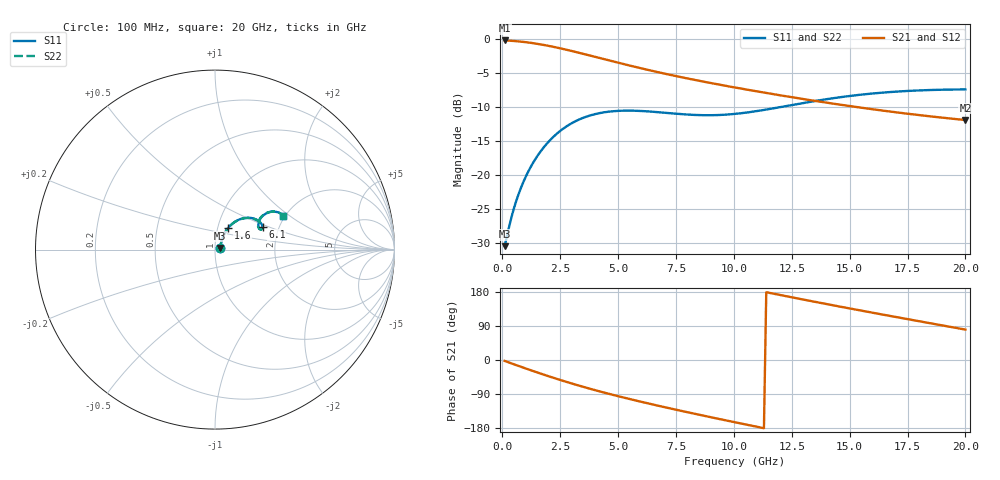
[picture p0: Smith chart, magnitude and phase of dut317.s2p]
! Touchstone file exported from HFSS 2024.1.0
!  File:  C:/UserFiles/LocalFiles/RDL_TSV_Batchsim/temp_RDL_TSV_317_1779628786.aedt
!  Generated:  09:38:46 PM May 24, 2026
!  Design:  RDL_TSV
!  Project:  temp_RDL_TSV_317_1779628786
!  Setup:  Setup1
!  Solution:  Sweep
! Variables:
!  dtsv = 6.99um
!  hbump = 3um
!  htsv = 62.13um
!  ldown = 670.75um
!  lrdl = 579.62um
!  p = 40
!  p1 = 53.25um
!  rhole = 10um
!  subl = 4330.73um
!  t = 450um
!  tdown = 4.08um
!  trdl = 2.64um
!  viad = 10um
!  wdown = 29.46um
!  wrdl = 14.46um
!  xbump = 18um
# GHz S MA R 50.000000
! Terminal data exported
! Port[1] = TM1_1_T1
! Port[2] = TM1_4_T1
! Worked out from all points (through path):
!   200 points, 100 MHz to 20 GHz, reference 50 ohm
!   highest |S21| = -0.25 dB at 100 MHz (marker M1); lowest = -12.0 dB at 20 GHz (marker M2)
!   group delay of S21, straight-line fit = 37.1 ps
!   lowest |S11| = -30.5 dB at 100 MHz (marker M3), VSWR 1.06, Z = 52.9 + j1.03 ohm
!   |S11| at or under -10 dB: start of sweep to 12.1 GHz
!   |S22| runs from -30.5 to -7.5 dB; largest |S21 - S12| = 1.1e-13
!   S11 on the Smith chart (normalised r, x): 100 MHz: 1.06, +0.02; 1.6 GHz: 1.12, +0.28; 6.1 GHz: 1.64, +0.45; 20 GHz: 1.96, +0.90
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0.1  0.02978 19.0  0.9718 -2.3  0.9718 -2.3  0.02978 19.0
! Gamma 0 0 0 0
! Port Impedance 50 0 50 0
0.4  0.04891 46.9  0.966 -9.1  0.966 -9.1  0.04892 46.9
0.7  0.07163 55.8  0.9565 -15.7  0.9565 -15.7  0.07165 55.7
1.1  0.1036 59.4  0.9398 -24.3  0.9398 -24.3  0.1036 59.3
1.6  0.144 58.7  0.9127 -34.7  0.9127 -34.7  0.1439 58.5
2  0.1749 56.1  0.8868 -42.9  0.8868 -42.9  0.1746 56.0
2.5  0.2099 51.9  0.8508 -52.7  0.8508 -52.7  0.2094 51.7
3  0.2393 47.2  0.8127 -62.0  0.8127 -62.0  0.2385 47.0
3.5  0.2623 42.5  0.7742 -70.9  0.7742 -70.9  0.2613 42.3
4.1  0.2814 37.2  0.7292 -81.1  0.7292 -81.1  0.2801 37.0
4.8  0.2931 31.9  0.6799 -92.4  0.6799 -92.4  0.2915 31.7
6.1  0.2936 25.4  0.6004 -111.8  0.6004 -111.8  0.2914 25.3
6.8  0.2877 23.9  0.564 -121.6  0.564 -121.6  0.2853 23.8
7.6  0.28 23.7  0.5272 -132.5  0.5272 -132.5  0.2776 23.7
8.4  0.2748 25.1  0.4946 -143.1  0.4946 -143.1  0.2723 25.1
10.1  0.2806 30.5  0.4363 -165.0  0.4363 -165.0  0.2784 30.7
11.6  0.3055 34.3  0.3939 176.4  0.3939 176.4  0.3038 34.6
13.4  0.346 35.3  0.3513 154.7  0.3513 154.7  0.3448 35.6
15  0.3793 33.8  0.3198 136.1  0.3198 136.1  0.3784 34.0
16.7  0.405 31.0  0.2921 116.8  0.2921 116.8  0.4042 31.2
18.3  0.4187 28.4  0.2707 99.0  0.2707 99.0  0.418 28.6
20  0.4242 26.3  0.2524 80.3  0.2524 80.3  0.4234 26.4
